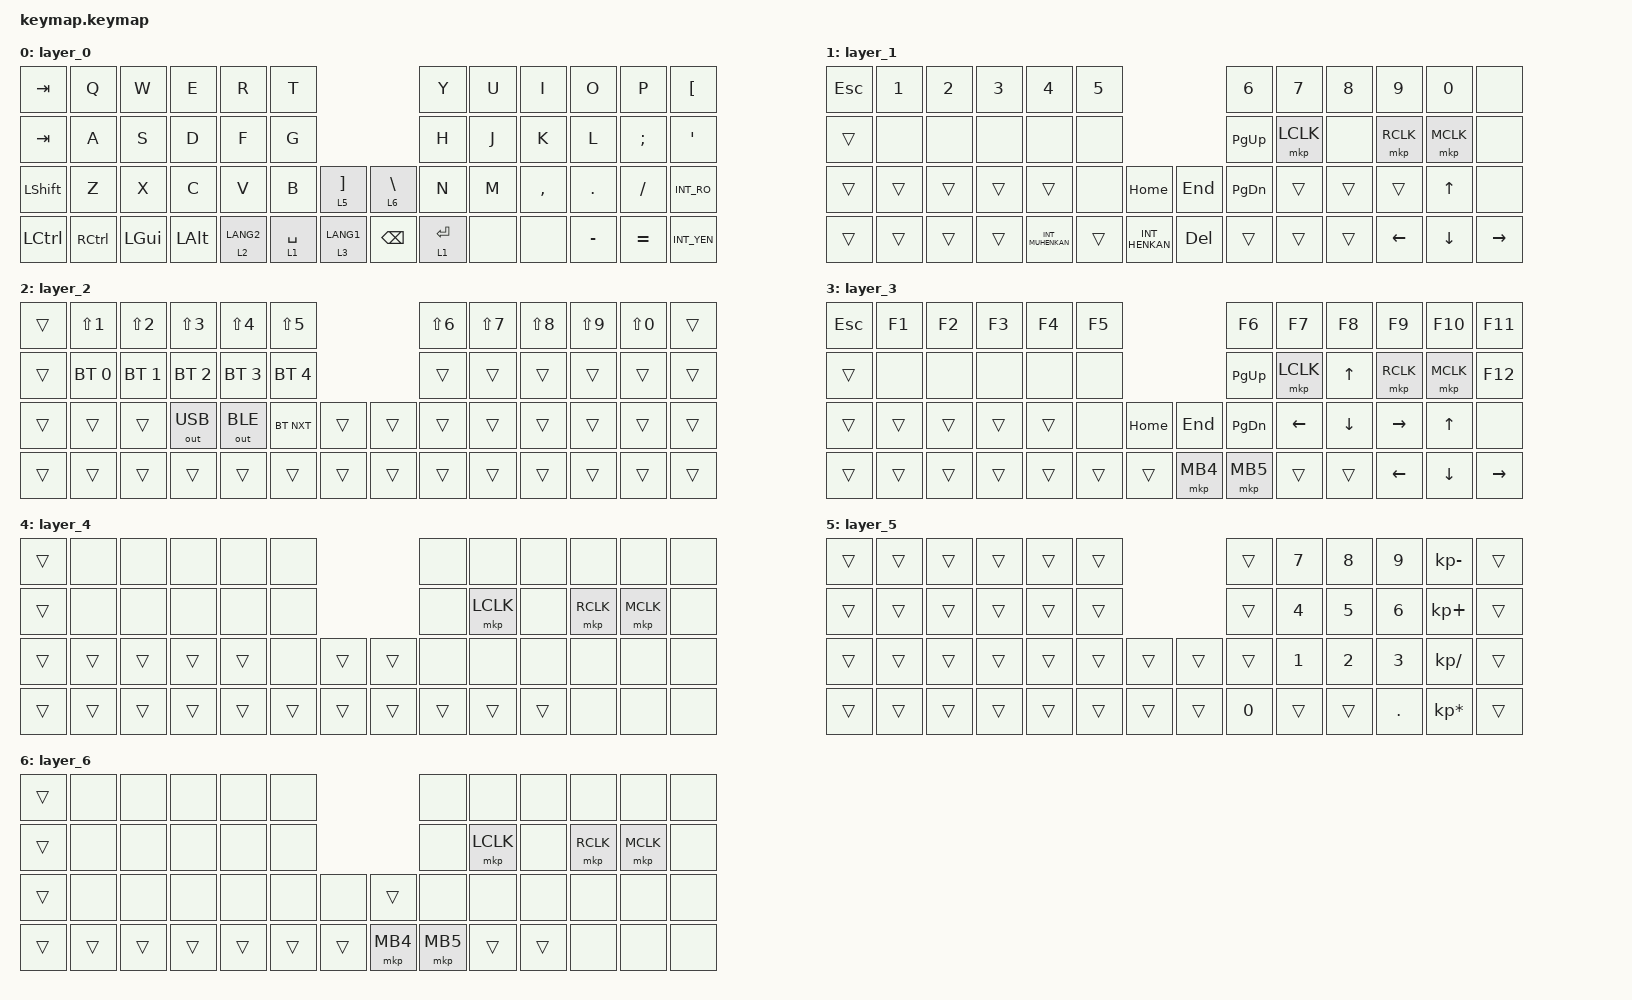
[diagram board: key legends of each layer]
#include <behaviors.dtsi>
#include <dt-bindings/zmk/bt.h>
#include <dt-bindings/zmk/keys.h>
#include <dt-bindings/zmk/outputs.h>
#include <dt-bindings/zmk/pointing.h>

/ {
    combos {
        compatible = "zmk,combos";

        bt_clear {
            bindings = <&bt BT_CLR>;
            key-positions = <16 17>;
            layers = <2>;
        };
    };

    keymap {
        compatible = "zmk,keymap";

        layer_0 {
            bindings = <
&kp TAB    &kp Q      &kp W     &kp E     &kp R        &kp T                                 &kp Y        &kp U  &kp I      &kp O      &kp P      &kp LBKT
&kp TAB    &kp A      &kp S     &kp D     &kp F        &kp G                                 &kp H        &kp J  &kp K      &kp L      &kp SEMI   &kp SQT
&kp LSHFT  &kp Z      &kp X     &kp C     &kp V        &kp B        &lt 5 RBKT   &lt 6 BSLH  &kp N        &kp M  &kp COMMA  &kp DOT    &kp FSLH   &kp INT_RO
&kp LCTRL  &kp RCTRL  &kp LGUI  &kp LALT  &lt 2 LANG2  &lt 1 SPACE  &lt 3 LANG1  &kp BSPC    &lt 1 ENTER  &none  &none      &kp MINUS  &kp EQUAL  &kp INT_YEN
            >;
        };

        layer_1 {
            bindings = <
&kp ESC  &kp N1  &kp N2  &kp N3  &kp N4            &kp N5                           &kp N6     &kp N7     &kp N8  &kp N9     &kp N0     &none
&trans   &none   &none   &none   &none             &none                            &kp PG_UP  &mkp LCLK  &none   &mkp RCLK  &mkp MCLK  &none
&trans   &trans  &trans  &trans  &trans            &none   &kp HOME        &kp END  &kp PG_DN  &trans     &trans  &trans     &kp UP     &none
&trans   &trans  &trans  &trans  &kp INT_MUHENKAN  &trans  &kp INT_HENKAN  &kp DEL  &trans     &trans     &trans  &kp LEFT   &kp DOWN   &kp RIGHT
            >;
        };

        layer_2 {
            bindings = <
&trans  &kp LS(N1)    &kp LS(N2)    &kp LS(N3)    &kp LS(N4)    &kp LS(N5)                    &kp LS(N6)  &kp LS(N7)  &kp LS(N8)  &kp LS(N9)  &kp LS(N0)  &trans
&trans  &bt BT_SEL 0  &bt BT_SEL 1  &bt BT_SEL 2  &bt BT_SEL 3  &bt BT_SEL 4                  &trans      &trans      &trans      &trans      &trans      &trans
&trans  &trans        &trans        &out OUT_USB  &out OUT_BLE  &bt BT_NXT    &trans  &trans  &trans      &trans      &trans      &trans      &trans      &trans
&trans  &trans        &trans        &trans        &trans        &trans        &trans  &trans  &trans      &trans      &trans      &trans      &trans      &trans
            >;
        };

        layer_3 {
            bindings = <
&kp ESC  &kp F1  &kp F2  &kp F3  &kp F4  &kp F5                      &kp F6     &kp F7     &kp F8        &kp F9     &kp F10    &kp F11
&trans   &none   &none   &none   &none   &none                       &kp PG_UP  &mkp LCLK  &kp UP_ARROW  &mkp RCLK  &mkp MCLK  &kp F12
&trans   &trans  &trans  &trans  &trans  &none   &kp HOME  &kp END   &kp PG_DN  &kp LEFT   &kp DOWN      &kp RIGHT  &kp UP     &none
&trans   &trans  &trans  &trans  &trans  &trans  &trans    &mkp MB4  &mkp MB5   &trans     &trans        &kp LEFT   &kp DOWN   &kp RIGHT
            >;
        };

        layer_4 {
            bindings = <
&trans  &none   &none   &none   &none   &none                   &none   &none      &none   &none      &none      &none
&trans  &none   &none   &none   &none   &none                   &none   &mkp LCLK  &none   &mkp RCLK  &mkp MCLK  &none
&trans  &trans  &trans  &trans  &trans  &none   &trans  &trans  &none   &none      &none   &none      &none      &none
&trans  &trans  &trans  &trans  &trans  &trans  &trans  &trans  &trans  &trans     &trans  &none      &none      &none
            >;
        };

        layer_5 {
            bindings = <
&trans  &trans  &trans  &trans  &trans  &trans                  &trans  &kp N7  &kp N8  &kp N9   &kp KP_MINUS     &trans
&trans  &trans  &trans  &trans  &trans  &trans                  &trans  &kp N4  &kp N5  &kp N6   &kp KP_PLUS      &trans
&trans  &trans  &trans  &trans  &trans  &trans  &trans  &trans  &trans  &kp N1  &kp N2  &kp N3   &kp KP_DIVIDE    &trans
&trans  &trans  &trans  &trans  &trans  &trans  &trans  &trans  &kp N0  &trans  &trans  &kp DOT  &kp KP_ASTERISK  &trans
            >;
        };

        layer_6 {
            bindings = <
&trans  &none   &none   &none   &none   &none                     &none     &none      &none   &none      &none      &none
&trans  &none   &none   &none   &none   &none                     &none     &mkp LCLK  &none   &mkp RCLK  &mkp MCLK  &none
&trans  &none   &none   &none   &none   &none   &none   &trans    &none     &none      &none   &none      &none      &none
&trans  &trans  &trans  &trans  &trans  &trans  &trans  &mkp MB4  &mkp MB5  &trans     &trans  &none      &none      &none
            >;
        };
    };
};
